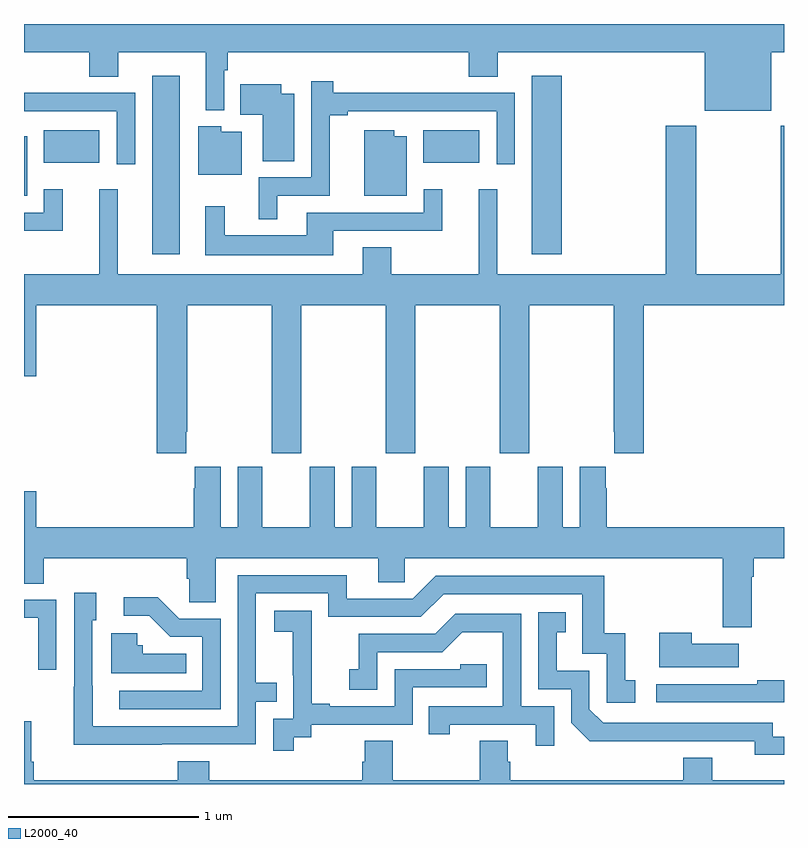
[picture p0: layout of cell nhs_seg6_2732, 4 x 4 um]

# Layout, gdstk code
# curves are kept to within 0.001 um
import gdstk
lib = gdstk.Library(unit=1e-6, precision=1e-09)
def R(c, l, rs):  # rectangles x0, y0, x1, y1
    for r in rs: c.add(gdstk.rectangle(r[:2], r[2:], *l))
def P(c, l, *ps):  # polygons
    for p in ps: c.add(gdstk.Polygon(p, *l))
L2000_40 = (2000, 40)

nhs_seg6_2732 = lib.new_cell('nhs_seg6_2732')
R(nhs_seg6_2732, L2000_40, [(273.674,930.288,273.82,931.228), (275.672,930.288,275.831,931.228), (273,930.596,273.016,930.91), (273.104,930.77,273.397,930.94), (275.102,930.77,275.395,930.94)])
P(nhs_seg6_2732, L2000_40, [(276.934,931.352),(277,931.352),(277,931.5),(273,931.5),(273,931.352),(273.344,931.352),(273.344,931.222),(273.496,931.222),(273.496,931.352),(273.956,931.352),(273.956,931.046),(274.053,931.046),(274.053,931.256),(274.073,931.256),(274.073,931.352),(275.342,931.352),(275.342,931.222),(275.494,931.222),(275.494,931.352),(276.584,931.352),(276.584,931.043),(276.934,931.043)],
  [(274.333,930.597),(274.61,930.597),(274.61,931.021),(274.705,931.021),(274.705,931.041),(275.487,931.041),(275.487,930.762),(275.583,930.762),(275.583,931.137),(275.258,931.137),(275.258,931.139),(274.628,931.139),(274.628,931.198),(274.512,931.198),(274.512,930.693),(274.235,930.693),(274.235,930.473),(274.333,930.473)],
  [(274.423,931.132),(274.354,931.132),(274.354,931.183),(274.138,931.183),(274.138,931.022),(274.256,931.022),(274.256,930.778),(274.423,930.778)],
  [(273.585,931.137),(273.26,931.137),(273.26,931.139),(273,931.139),(273,931.041),(273.489,931.041),(273.489,930.762),(273.585,930.762)],
  [(273.853,929.353),(273.858,929.353),(273.858,930.02),(274.303,930.02),(274.303,929.241),(274.458,929.241),(274.458,930.02),(274.903,930.02),(274.903,929.241),(275.058,929.241),(275.058,930.02),(275.503,930.02),(275.503,929.241),(275.658,929.241),(275.658,930.02),(276.103,930.02),(276.103,929.353),(276.107,929.353),(276.107,929.241),(276.263,929.241),(276.263,930.02),(277,930.02),(277,930.964),(276.982,930.964),(276.982,930.184),(276.537,930.184),(276.537,930.964),(276.377,930.964),(276.377,930.184),(275.492,930.184),(275.492,930.631),(275.393,930.631),(275.393,930.184),(274.932,930.184),(274.932,930.326),(274.784,930.326),(274.784,930.184),(273.494,930.184),(273.494,930.631),(273.395,930.631),(273.395,930.184),(273,930.184),(273,929.646),(273.064,929.646),(273.064,930.02),(273.698,930.02),(273.698,929.241),(273.853,929.241)],
  [(274.147,930.934),(274.038,930.934),(274.038,930.961),(273.917,930.961),(273.917,930.707),(274.147,930.707)],
  [(275.014,930.91),(274.948,930.91),(274.948,930.94),(274.79,930.94),(274.79,930.596),(275.014,930.596)],
  [(273.203,930.631),(273.105,930.631),(273.105,930.507),(273,930.507),(273,930.411),(273.203,930.411)],
  [(274.627,930.411),(275.201,930.411),(275.201,930.631),(275.103,930.631),(275.103,930.507),(274.487,930.507),(274.487,930.388),(274.057,930.388),(274.057,930.541),(273.953,930.541),(273.953,930.284),(274.627,930.284)],
  [(276.829,928.592),(276.842,928.592),(276.842,928.688),(277,928.688),(277,928.852),(276.068,928.852),(276.068,929.057),(276.061,929.057),(276.061,929.17),(275.924,929.17),(275.924,928.852),(275.836,928.852),(275.836,929.17),(275.705,929.17),(275.705,928.852),(275.455,928.852),(275.455,929.17),(275.324,929.17),(275.324,928.852),(275.236,928.852),(275.236,929.17),(275.105,929.17),(275.105,928.852),(274.855,928.852),(274.855,929.17),(274.724,929.17),(274.724,928.852),(274.636,928.852),(274.636,929.17),(274.505,929.17),(274.505,928.852),(274.255,928.852),(274.255,929.17),(274.124,929.17),(274.124,928.852),(274.036,928.852),(274.036,929.17),(273.899,929.17),(273.899,929.057),(273.893,929.057),(273.893,928.852),(273.064,928.852),(273.064,929.041),(273,929.041),(273,928.555),(273.104,928.555),(273.104,928.688),(273.857,928.688),(273.857,928.579),(273.87,928.579),(273.87,928.456),(274.009,928.456),(274.009,928.688),(274.865,928.688),(274.865,928.561),(275.004,928.561),(275.004,928.688),(276.677,928.688),(276.677,928.326),(276.829,928.326)],
  [(273.725,927.708),(274.221,927.708),(274.221,927.933),(274.331,927.933),(274.331,928.034),(274.221,928.034),(274.221,928.503),(274.602,928.503),(274.602,928.38),(275.088,928.38),(275.208,928.5),(275.937,928.5),(275.937,928.185),(276.066,928.185),(276.066,927.927),(276.217,927.927),(276.217,928.047),(276.164,928.047),(276.164,928.294),(276.053,928.294),(276.053,928.596),(275.166,928.596),(275.046,928.476),(274.699,928.476),(274.699,928.599),(274.125,928.599),(274.125,927.804),(273.361,927.804),(273.36,928.362),(273.379,928.362),(273.379,928.507),(273.264,928.507),(273.264,928.013),(273.262,928.013),(273.262,927.707)],
  [(274.035,928.371),(273.816,928.371),(273.703,928.484),(273.525,928.484),(273.525,928.386),(273.659,928.386),(273.77,928.275),(273.939,928.275),(273.939,927.99),(273.501,927.99),(273.501,927.894),(274.035,927.894)],
  [(273.171,928.47),(273,928.47),(273,928.374),(273.075,928.374),(273.075,928.101),(273.171,928.101)],
  [(274.42,927.745),(274.512,927.745),(274.512,927.813),(275.046,927.813),(275.046,928.008),(275.435,928.008),(275.435,928.131),(275.295,928.131),(275.295,928.104),(274.95,928.104),(274.95,927.909),(274.609,927.909),(274.609,927.922),(274.514,927.922),(274.514,928.205),(274.515,928.205),(274.515,928.411),(274.317,928.411),(274.317,928.301),(274.415,928.301),(274.415,928.073),(274.416,928.073),(274.416,927.843),(274.311,927.843),(274.311,927.675),(274.42,927.675)],
  [(277,927.75),(276.942,927.75),(276.942,927.822),(276.048,927.822),(275.976,927.894),(275.976,928.095),(275.803,928.095),(275.803,928.299),(275.852,928.299),(275.852,928.405),(275.706,928.405),(275.706,927.999),(275.88,927.999),(275.88,927.822),(275.978,927.725),(276.846,927.726),(276.846,927.653),(277,927.653)],
  [(275.79,927.909),(275.616,927.909),(275.616,928.395),(275.27,928.395),(275.165,928.29),(274.762,928.29),(274.762,928.105),(274.713,928.105),(274.713,927.996),(274.86,927.996),(274.86,928.194),(275.202,928.194),(275.306,928.298),(275.52,928.298),(275.52,927.909),(275.131,927.909),(275.131,927.762),(275.242,927.762),(275.242,927.813),(275.693,927.813),(275.693,927.702),(275.79,927.702)],
  [(276.763,928.237),(276.515,928.237),(276.515,928.297),(276.344,928.297),(276.344,928.115),(276.763,928.115)],
  [(273.854,928.186),(273.624,928.186),(273.624,928.23),(273.597,928.23),(273.597,928.294),(273.458,928.294),(273.458,928.082),(273.854,928.082)],
  [(277,928.046),(276.859,928.046),(276.859,928.026),(276.327,928.026),(276.327,927.93),(277,927.93)],
  [(277,927.52),(276.622,927.52),(276.622,927.637),(276.47,927.637),(276.47,927.52),(275.558,927.52),(275.558,927.618),(275.545,927.618),(275.545,927.728),(275.398,927.728),(275.398,927.52),(274.941,927.52),(274.941,927.728),(274.793,927.728),(274.793,927.618),(274.781,927.618),(274.781,927.52),(273.974,927.52),(273.974,927.619),(273.809,927.619),(273.809,927.52),(273.05,927.52),(273.05,927.616),(273.037,927.616),(273.037,927.829),(273,927.829),(273,927.5),(277,927.5)])

lib.write_gds('nhs_seg6_2732.gds')
